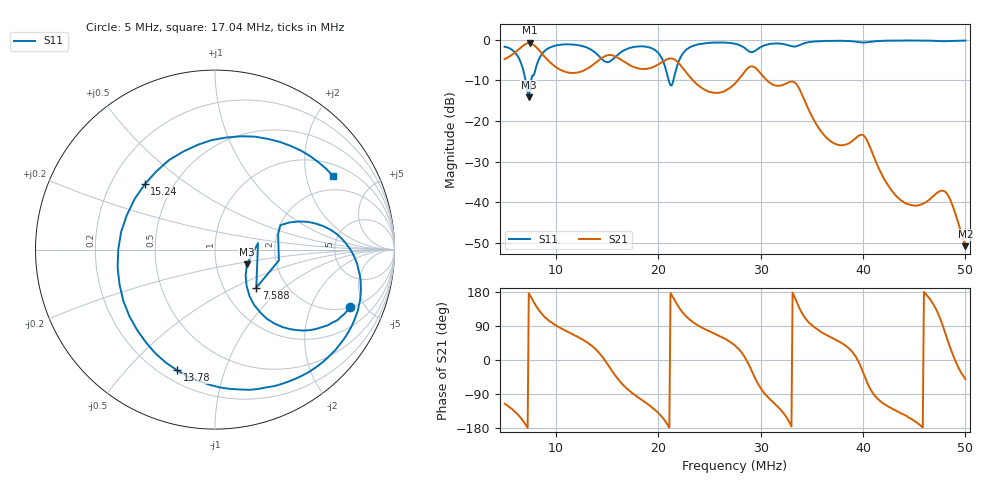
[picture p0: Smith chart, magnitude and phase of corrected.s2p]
! S11/S21 only; reverse parameters are placeholders. Device calibration unverified.
! [Saver CAL applied] C:\Users\aknya\MyProjects\rf-simulator\calibration2.cal | Ideal standards assumed | Input: NanoVNA F V2 profile | COM3 | 2026-09-08T10:44:40.1447921-04:00 | device calibration unverified
# HZ S RI R 50
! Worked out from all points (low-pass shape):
!   401 points, 5 MHz to 50 MHz, reference 50 ohm
!   highest |S21| = -0.77 dB at 7.475 MHz (marker M1); lowest = -50.8 dB at 50 MHz (marker M2)
!   |S21| within 3 dB of the highest: 5.692 MHz to 8.764 MHz (3.072 MHz wide, 42.5 % of centre)
!   lowest |S11| = -14.2 dB at 7.362 MHz (marker M3), VSWR 1.49, Z = 70.5 - j11.9 ohm
!   |S11| at or under -10 dB: 7.039 MHz to 7.595 MHz (555.9 kHz wide, 7.6 % of centre); 21.03 MHz to 21.48 MHz (454.3 kHz wide, 2.14 % of centre)
!   S12 and S22 are empty: the file has one direction only
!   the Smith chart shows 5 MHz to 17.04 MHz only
!   S11 on the Smith chart (normalised r, x): 5 MHz: 2.03, -3.91; 7.588 MHz: 1.41, -0.67; 13.78 MHz: 0.26, -0.70; 15.24 MHz: 0.35, +0.35; 17.04 MHz: 1.39, +2.86
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5000000  0.7524 -0.32  -0.2486 -0.5201  0 0  0 0
7362500  0.1778 -0.0812  -0.9118 0.0668  0 0  0 0
7475000  0.2397 0.0361  -0.9022 0.1522  0 0  0 0
7587500  0.23 -0.2125  -0.8628 0.2112  0 0  0 0
9837500  0.812 -0.1995  -0.035 0.4751  0 0  0 0
1.25375e7  0.3741 -0.7477  0.2327 0.3347  0 0  0 0
1.3775e7  -0.2104 -0.6726  0.4317 0.264  0 0  0 0
1.52375e7  -0.3909 0.3646  0.6122 -0.2064  0 0  0 0
1.70375e7  0.6558 0.4125  0.1052 -0.4883  0 0  0 0
1.86125e7  0.8126 -0.1418  -0.1445 -0.4107  0 0  0 0
2.0075e7  0.3777 -0.5548  -0.3925 -0.3125  0 0  0 0
2.12e7  -0.2689 -0.0505  -0.5866 0.0349  0 0  0 0
2.2325e7  0.3206 0.5694  -0.2818 0.3641  0 0  0 0
2.4125e7  0.8598 0.209  0.0114 0.2611  0 0  0 0
2.75e7  0.8336 -0.3103  0.2274 0.1787  0 0  0 0
2.98625e7  0.7581 -0.2254  0.1501 -0.3735  0 0  0 0
3.30125e7  0.7022 -0.4431  -0.3043 -0.0246  0 0  0 0
3.50375e7  0.7785 -0.5314  -0.00214 0.1123  0 0  0 0
4.01e7  0.5672 -0.724  0.051 -0.0411  0 0  0 0
4.2575e7  0.5174 -0.8202  -0.00862 -0.0125  0 0  0 0
4.7975e7  0.2952 -0.9103  0.00333 0.0132  0 0  0 0
5e7  0.2325 -0.9451  0.00185 -0.00222  0 0  0 0
